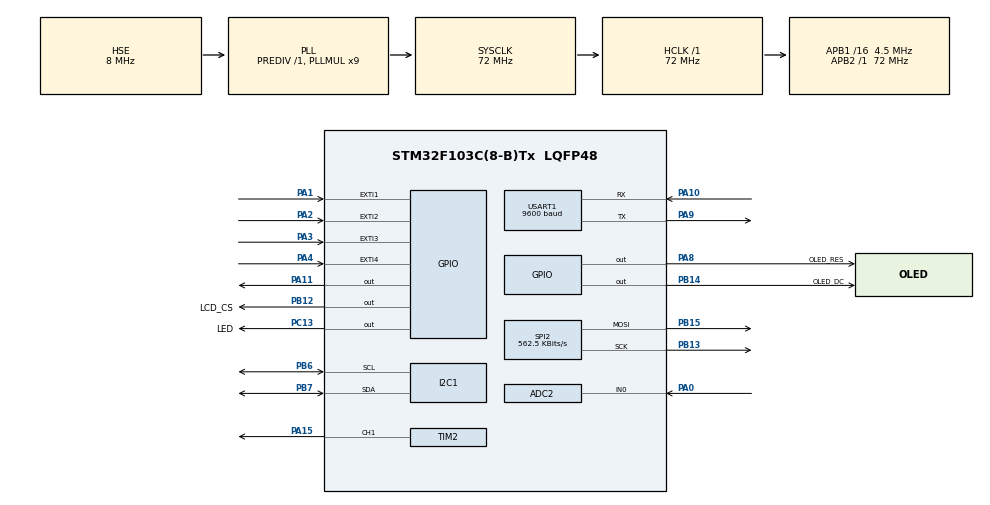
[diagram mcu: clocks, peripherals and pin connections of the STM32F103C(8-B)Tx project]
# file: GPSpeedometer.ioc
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ADC2.AWD1HighThreshold=4095
ADC2.AWD1ITMode=ENABLE
ADC2.AWD1LowThreshold=1300
ADC2.Channel-0\#ChannelRegularConversion=ADC_CHANNEL_0
ADC2.ContinuousConvMode=ENABLE
ADC2.EnableAnalogWatchDog=true
ADC2.NbrOfConversionFlag=1
ADC2.Rank-0\#ChannelRegularConversion=1
ADC2.SamplingTime-0\#ChannelRegularConversion=ADC_SAMPLETIME_1CYCLE_5
Dma.Request0=USART1_RX
Dma.USART1_RX.0.Direction=DMA_PERIPH_TO_MEMORY
Dma.USART1_RX.0.Instance=DMA1_Channel5
Dma.USART1_RX.0.MemDataAlignment=DMA_MDATAALIGN_BYTE
Dma.USART1_RX.0.MemInc=DMA_MINC_ENABLE
Dma.USART1_RX.0.Mode=DMA_CIRCULAR
Dma.USART1_RX.0.PeriphDataAlignment=DMA_PDATAALIGN_BYTE
Dma.USART1_RX.0.PeriphInc=DMA_PINC_DISABLE
Dma.USART1_RX.0.Priority=DMA_PRIORITY_LOW
FREERTOS.BinarySemaphores01=myBinarySemUART_ISR,Dynamic,NULL;myBinarySemDisplay_Data,Dynamic,NULL;myBinarySemButtons_ISR,Dynamic,NULL
FREERTOS.INCLUDE_vTaskDelayUntil=1
FREERTOS.Queues01=myButtons_state_Queue,8,uint8_t,0,Dynamic,NULL,NULL
FREERTOS.Tasks01=defaultTask,2,128,StartDefaultTask,Default,NULL,Dynamic,NULL,NULL;myLCD,-1,128,StartLCD,Default,NULL,Dynamic,NULL,NULL;myGPS_parser,0,128,StarGPS_parser,Default,NULL,Dynamic,NULL,NULL;myButtons,-3,128,StartButtons,Default,NULL,Dynamic,NULL,NULL;myEEPROM,-3,128,StartTask05,Default,NULL,Dynamic,NULL,NULL
FREERTOS.configTOTAL_HEAP_SIZE=5000
I2C1.I2C_Mode=I2C_Fast
Mcu.Family=STM32F1
Mcu.Name=STM32F103C(8-B)Tx
Mcu.Package=LQFP48
NVIC.ADC1_2_IRQn=true\:5\:0\:false\:false\:true\:true\:true
NVIC.DMA1_Channel5_IRQn=true\:5\:0\:false\:false\:true\:true\:false
NVIC.EXTI1_IRQn=true\:5\:0\:false\:false\:true\:true\:true
NVIC.EXTI2_IRQn=true\:5\:0\:false\:false\:true\:true\:true
NVIC.EXTI3_IRQn=true\:5\:0\:false\:false\:true\:true\:true
NVIC.EXTI4_IRQn=true\:5\:0\:false\:false\:true\:true\:true
NVIC.PriorityGroup=NVIC_PRIORITYGROUP_4
NVIC.TIM1_UP_IRQn=true\:0\:0\:false\:false\:true\:false\:true
NVIC.TimeBase=TIM1_UP_IRQn
NVIC.TimeBaseIP=TIM1
NVIC.USART1_IRQn=true\:5\:0\:false\:false\:true\:true\:true
PA0-WKUP.Signal=ADCx_IN0
PA1.GPIO_ModeDefaultEXTI=GPIO_MODE_IT_FALLING
PA1.GPIO_PuPd=GPIO_PULLUP
PA1.Signal=GPXTI1
PA10.Mode=Asynchronous
PA10.Signal=USART1_RX
PA11.PinState=GPIO_PIN_RESET
PA11.Signal=GPIO_Output
PA13.Mode=Serial_Wire
PA13.Signal=SYS_JTMS-SWDIO
PA14.Mode=Serial_Wire
PA14.Signal=SYS_JTCK-SWCLK
PA15.Signal=S_TIM2_CH1_ETR
PA2.GPIO_ModeDefaultEXTI=GPIO_MODE_IT_FALLING
PA2.GPIO_PuPd=GPIO_PULLUP
PA2.Signal=GPXTI2
PA3.GPIO_ModeDefaultEXTI=GPIO_MODE_IT_FALLING
PA3.GPIO_PuPd=GPIO_PULLUP
PA3.Signal=GPXTI3
PA4.GPIO_ModeDefaultEXTI=GPIO_MODE_IT_FALLING
PA4.GPIO_PuPd=GPIO_PULLUP
PA4.Signal=GPXTI4
PA8.GPIO_Label=OLED_RES
PA8.Signal=GPIO_Output
PA9.Mode=Asynchronous
PA9.Signal=USART1_TX
PB12.GPIO_Label=LCD_CS
PB12.Signal=GPIO_Output
PB13.Mode=TX_Only_Simplex_Unidirect_Master
PB13.Signal=SPI2_SCK
PB14.GPIO_Label=OLED_DC
PB14.Signal=GPIO_Output
PB15.Mode=TX_Only_Simplex_Unidirect_Master
PB15.Signal=SPI2_MOSI
PB6.Mode=I2C
PB6.Signal=I2C1_SCL
PB7.Mode=I2C
PB7.Signal=I2C1_SDA
PC13-TAMPER-RTC.GPIO_Label=LED
PC13-TAMPER-RTC.Signal=GPIO_Output
PD0-OSC_IN.Mode=HSE-External-Oscillator
PD0-OSC_IN.Signal=RCC_OSC_IN
PD1-OSC_OUT.Mode=HSE-External-Oscillator
PD1-OSC_OUT.Signal=RCC_OSC_OUT
ProjectManager.HeapSize=0x200
ProjectManager.StackSize=0x400
ProjectManager.TargetToolchain=MDK-ARM V5
RCC.ADCPresc=RCC_ADCPCLK2_DIV6
RCC.AHBFreq_Value=72000000
RCC.APB1CLKDivider=RCC_HCLK_DIV16
RCC.APB1Freq_Value=4500000
RCC.APB1TimFreq_Value=9000000
RCC.APB2Freq_Value=72000000
RCC.APB2TimFreq_Value=72000000
RCC.HCLKFreq_Value=72000000
RCC.PLLMUL=RCC_PLL_MUL9
RCC.PLLSourceVirtual=RCC_PLLSOURCE_HSE
RCC.SYSCLKFreq_VALUE=72000000
RCC.SYSCLKSource=RCC_SYSCLKSOURCE_PLLCLK
RCC.USBFreq_Value=72000000
SH.ADCx_IN0.0=ADC2_IN0,IN0
SH.S_TIM2_CH1_ETR.0=TIM2_CH1,PWM Generation1 CH1
SPI2.BaudRatePrescaler=SPI_BAUDRATEPRESCALER_8
SPI2.CalculateBaudRate=562.5 KBits/s
SPI2.Direction=SPI_DIRECTION_2LINES
SPI2.Mode=SPI_MODE_MASTER
SPI2.VirtualType=VM_MASTER
TIM2.AutoReloadPreload=TIM_AUTORELOAD_PRELOAD_DISABLE
TIM2.Channel-PWM\ Generation1\ CH1=TIM_CHANNEL_1
TIM2.OCMode_PWM-PWM\ Generation1\ CH1=TIM_OCMODE_PWM1
TIM2.Period=65535
TIM2.Pulse-PWM\ Generation1\ CH1=32000
USART1.BaudRate=9600
USART1.VirtualMode=VM_ASYNC
VP_CRC_VS_CRC.Mode=CRC_Activate
VP_FREERTOS_VS_ENABLE.Mode=Enabled
VP_SYS_VS_tim1.Mode=TIM1
VP_TIM2_VS_ClockSourceINT.Mode=Internal
board=GPSpeedometer

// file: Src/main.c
/* USER CODE BEGIN Header */
/**
  ******************************************************************************
  * @file           : main.c
  * @brief          : Main program body
  ******************************************************************************
  * This notice applies to any and all portions of this file
  * that are not between comment pairs USER CODE BEGIN and
  * USER CODE END. Other portions of this file, whether
  * inserted by the user or by software development tools
  * are owned by their respective copyright owners.
  *
  * Copyright (c) 2019 STMicroelectronics International N.V.
  * All rights reserved.
  *
  * Redistribution and use in source and binary forms, with or without
  * modification, are permitted, provided that the following conditions are met:
  *
  * 1. Redistribution of source code must retain the above copyright notice,
  *    this list of conditions and the following disclaimer.
  * 2. Redistributions in binary form must reproduce the above copyright notice,
  *    this list of conditions and the following disclaimer in the documentation
  *    and/or other materials provided with the distribution.
  * 3. Neither the name of STMicroelectronics nor the names of other
  *    contributors to this software may be used to endorse or promote products
  *    derived from this software without specific written permission.
  * 4. This software, including modifications and/or derivative works of this
  *    software, must execute solely and exclusively on microcontroller or
  *    microprocessor devices manufactured by or for STMicroelectronics.
  * 5. Redistribution and use of this software other than as permitted under
  *    this license is void and will automatically terminate your rights under
  *    this license.
  *
  * THIS SOFTWARE IS PROVIDED BY STMICROELECTRONICS AND CONTRIBUTORS "AS IS"
  * AND ANY EXPRESS, IMPLIED OR STATUTORY WARRANTIES, INCLUDING, BUT NOT
  * LIMITED TO, THE IMPLIED WARRANTIES OF MERCHANTABILITY, FITNESS FOR A
  * PARTICULAR PURPOSE AND NON-INFRINGEMENT OF THIRD PARTY INTELLECTUAL PROPERTY
  * RIGHTS ARE DISCLAIMED TO THE FULLEST EXTENT PERMITTED BY LAW. IN NO EVENT
  * SHALL STMICROELECTRONICS OR CONTRIBUTORS BE LIABLE FOR ANY DIRECT, INDIRECT,
  * INCIDENTAL, SPECIAL, EXEMPLARY, OR CONSEQUENTIAL DAMAGES (INCLUDING, BUT NOT
  * LIMITED TO, PROCUREMENT OF SUBSTITUTE GOODS OR SERVICES; LOSS OF USE, DATA,
  * OR PROFITS; OR BUSINESS INTERRUPTION) HOWEVER CAUSED AND ON ANY THEORY OF
  * LIABILITY, WHETHER IN CONTRACT, STRICT LIABILITY, OR TORT (INCLUDING
  * NEGLIGENCE OR OTHERWISE) ARISING IN ANY WAY OUT OF THE USE OF THIS SOFTWARE,
  * EVEN IF ADVISED OF THE POSSIBILITY OF SUCH DAMAGE.
  *
  ******************************************************************************
  */
/* USER CODE END Header */

#include "main.h"
#include "cmsis_os.h"
#include "adc.h"
#include "crc.h"
#include "dma.h"
#include "i2c.h"
#include "spi.h"
#include "tim.h"
#include "usart.h"
#include "gpio.h"

/* USER CODE BEGIN Includes */
#include "u8g2.h"
#include "u8g2_arm.h"
#include <stdio.h>
#include "gui.h"
/* USER CODE END Includes */

/* USER CODE BEGIN PV */
/* Private variables ---------------------------------------------------------*/

/* USER CODE END PV */

void SystemClock_Config(void);
void MX_FREERTOS_Init(void);
/* USER CODE BEGIN PFP */
/* Private function prototypes -----------------------------------------------*/

/* USER CODE END PFP */

int main(void)
{

  /* MCU Configuration--------------------------------------------------------*/

  /* Reset of all peripherals, Initializes the Flash interface and the Systick. */
  HAL_Init();

  /* Configure the system clock */
  SystemClock_Config();

  /* Initialize all configured peripherals */
  MX_GPIO_Init();
  MX_DMA_Init();
  MX_SPI2_Init();
  MX_USART1_UART_Init();
  MX_I2C1_Init();
  MX_TIM2_Init();
  MX_ADC2_Init();
  MX_CRC_Init();
  /* USER CODE BEGIN 2 */
	//Uncomment ST7920 or SSD1309 in main.h to choose screen controller type

	#ifdef ST7920
	u8g2_Setup_st7920_s_128x64_f(&u8g2, U8G2_R0,u8x8_byte_stm32_hw_spi,u8x8_stm32_gpio_and_delay);
	#endif

	#ifdef SSD1309
	u8g2_Setup_ssd1309_128x64_noname0_f(&u8g2, U8G2_R0,u8x8_byte_stm32_hw_spi,u8x8_stm32_gpio_and_delay);
	#endif
	/*u8g2_InitDisplay(&u8g2);
	u8g2_SetPowerSave(&u8g2, 0);*/
	HAL_TIM_PWM_Start(&htim2, TIM_CHANNEL_1);
	TIM2->CCR1=65535;
	//HAL_ADC_Start(&hadc2);
	//HAL_TIM_SetCompare(&htim2, TIM_CHANNEL_1, 5000);
/*
	wake up display. Need to add display clear to this function:
	U8X8_C(0x001),
  U8X8_DLY(4),
to uint8_t u8x8_d_st7920_powersave1_seq[] at u8x8_d_st7920.c */
  /* USER CODE END 2 */

  /* Call init function for freertos objects (in freertos.c) */
  MX_FREERTOS_Init();

  /* Start scheduler */
  osKernelStart();

  /* We should never get here as control is now taken by the scheduler */

  /* Infinite loop */
  while (1)
  {

  }
}

void SystemClock_Config(void)
{
  RCC_OscInitTypeDef RCC_OscInitStruct = {0};
  RCC_ClkInitTypeDef RCC_ClkInitStruct = {0};
  RCC_PeriphCLKInitTypeDef PeriphClkInit = {0};

  /**Initializes the CPU, AHB and APB busses clocks
  */
  RCC_OscInitStruct.OscillatorType = RCC_OSCILLATORTYPE_HSE;
  RCC_OscInitStruct.HSEState = RCC_HSE_ON;
  RCC_OscInitStruct.HSEPredivValue = RCC_HSE_PREDIV_DIV1;
  RCC_OscInitStruct.HSIState = RCC_HSI_ON;
  RCC_OscInitStruct.PLL.PLLState = RCC_PLL_ON;
  RCC_OscInitStruct.PLL.PLLSource = RCC_PLLSOURCE_HSE;
  RCC_OscInitStruct.PLL.PLLMUL = RCC_PLL_MUL9;
  if (HAL_RCC_OscConfig(&RCC_OscInitStruct) != HAL_OK)
  {
    Error_Handler();
  }
  /**Initializes the CPU, AHB and APB busses clocks
  */
  RCC_ClkInitStruct.ClockType = RCC_CLOCKTYPE_HCLK|RCC_CLOCKTYPE_SYSCLK
                              |RCC_CLOCKTYPE_PCLK1|RCC_CLOCKTYPE_PCLK2;
  RCC_ClkInitStruct.SYSCLKSource = RCC_SYSCLKSOURCE_PLLCLK;
  RCC_ClkInitStruct.AHBCLKDivider = RCC_SYSCLK_DIV1;
  RCC_ClkInitStruct.APB1CLKDivider = RCC_HCLK_DIV16;
  RCC_ClkInitStruct.APB2CLKDivider = RCC_HCLK_DIV1;

  if (HAL_RCC_ClockConfig(&RCC_ClkInitStruct, FLASH_LATENCY_2) != HAL_OK)
  {
    Error_Handler();
  }
  PeriphClkInit.PeriphClockSelection = RCC_PERIPHCLK_ADC;
  PeriphClkInit.AdcClockSelection = RCC_ADCPCLK2_DIV6;
  if (HAL_RCCEx_PeriphCLKConfig(&PeriphClkInit) != HAL_OK)
  {
    Error_Handler();
  }
}

void HAL_TIM_PeriodElapsedCallback(TIM_HandleTypeDef *htim)
{
  if (htim->Instance == TIM1) {
    HAL_IncTick();
  }
}

void Error_Handler(void)
{
  while(1)
  {
  }
}

/************************ (C) COPYRIGHT STMicroelectronics *****END OF FILE****/

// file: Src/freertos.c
/* USER CODE BEGIN Header */
/**
  ******************************************************************************
  * File Name          : freertos.c
  * Description        : Code for freertos applications
  ******************************************************************************
  * This notice applies to any and all portions of this file
  * that are not between comment pairs USER CODE BEGIN and
  * USER CODE END. Other portions of this file, whether
  * inserted by the user or by software development tools
  * are owned by their respective copyright owners.
  *
  * Copyright (c) 2019 STMicroelectronics International N.V.
  * All rights reserved.
  *
  * Redistribution and use in source and binary forms, with or without
  * modification, are permitted, provided that the following conditions are met:
  *
  * 1. Redistribution of source code must retain the above copyright notice,
  *    this list of conditions and the following disclaimer.
  * 2. Redistributions in binary form must reproduce the above copyright notice,
  *    this list of conditions and the following disclaimer in the documentation
  *    and/or other materials provided with the distribution.
  * 3. Neither the name of STMicroelectronics nor the names of other
  *    contributors to this software may be used to endorse or promote products
  *    derived from this software without specific written permission.
  * 4. This software, including modifications and/or derivative works of this
  *    software, must execute solely and exclusively on microcontroller or
  *    microprocessor devices manufactured by or for STMicroelectronics.
  * 5. Redistribution and use of this software other than as permitted under
  *    this license is void and will automatically terminate your rights under
  *    this license.
  *
  * THIS SOFTWARE IS PROVIDED BY STMICROELECTRONICS AND CONTRIBUTORS "AS IS"
  * AND ANY EXPRESS, IMPLIED OR STATUTORY WARRANTIES, INCLUDING, BUT NOT
  * LIMITED TO, THE IMPLIED WARRANTIES OF MERCHANTABILITY, FITNESS FOR A
  * PARTICULAR PURPOSE AND NON-INFRINGEMENT OF THIRD PARTY INTELLECTUAL PROPERTY
  * RIGHTS ARE DISCLAIMED TO THE FULLEST EXTENT PERMITTED BY LAW. IN NO EVENT
  * SHALL STMICROELECTRONICS OR CONTRIBUTORS BE LIABLE FOR ANY DIRECT, INDIRECT,
  * INCIDENTAL, SPECIAL, EXEMPLARY, OR CONSEQUENTIAL DAMAGES (INCLUDING, BUT NOT
  * LIMITED TO, PROCUREMENT OF SUBSTITUTE GOODS OR SERVICES; LOSS OF USE, DATA,
  * OR PROFITS; OR BUSINESS INTERRUPTION) HOWEVER CAUSED AND ON ANY THEORY OF
  * LIABILITY, WHETHER IN CONTRACT, STRICT LIABILITY, OR TORT (INCLUDING
  * NEGLIGENCE OR OTHERWISE) ARISING IN ANY WAY OUT OF THE USE OF THIS SOFTWARE,
  * EVEN IF ADVISED OF THE POSSIBILITY OF SUCH DAMAGE.
  *
  ******************************************************************************
  */
/* USER CODE END Header */

#include "FreeRTOS.h"
#include "task.h"
#include "main.h"
#include "cmsis_os.h"

/* USER CODE BEGIN Includes */
#include "u8g2.h"
#include "u8g2_arm.h"
#include <stdio.h>
#include "gui.h"
#include "usart.h"
#include "i2c.h"
#include "adc.h"
#include "string.h"
#include "GPS_Parser.h"
#include "Location.h"
#include "Simple_distance.h"
#include "eeprom.h"
#include "math.h"
#include "buttons.h"

/* USER CODE END Includes */

/* USER CODE BEGIN PD */
#define    DWT_CYCCNT    *(volatile unsigned long *)0xE0001004
#define    DWT_CONTROL   *(volatile unsigned long *)0xE0001000
#define    SCB_DEMCR     *(volatile unsigned long *)0xE000EDFC
/* USER CODE END PD */

/* USER CODE BEGIN Variables */
u8g2_t u8g2;
#define StartParcing() HAL_UART_Receive_IT(&huart1,(uint8_t *)&UART_byte,1)
uint32_t count_tic = 0;
char UART_byte=0;
uint8_t GPS_buffer_rx[BUFFSIZE];
char GPS_buffer[BUFFSIZE];
char Screen_buffer[15];
uint8_t GPS_buff_pos = 0;
GPS_data GPS;
Race_data Race;
eeprom_struct eeprom;
Display Disp;
__IO ITStatus UartReady = RESET;
Position Previous_Position,Current_position;
uint8_t buttons_state, buttons_long_press_state;
int i=65535;
uint32_t adc=0;
int a = 0;
uint8_t *b;
uint8_t eeprom_flag = 0;
uint8_t current_sentence;
float km;
enum mode {normal, power_off, debug};
enum mode work_mode = normal;
//enum mode work_mode = debug;

//const char change_baudrate[28] ={0xb5,0x62,0x06,0x00,0x14,0x00,0x01,0x00,0x00,0x00,0xd0,0x08,0x00,0x00,0x00,0xc2,0x01,0x00,0x07,0x00,0x03,0x00,0x00,0x00,0x00,0x00,0xc0,0x7e};
const char change_baudrate_uart_only[28] ={0xb5,0x62,0x06,0x00,0x14,0x00,0x01,0x00,0x00,0x00,0xd0,0x08,0x00,0x00,0x00,0xc2,0x01,0x00,0x07,0x00,0x02,0x00,0x00,0x00,0x00,0x00,0xbf,0x78};
//const char _57600_baudrate_uart_only[28] ={0xB5,0x62,0x06,0x00,0x14,0x00,0x01,0x00,0x00,0x00,0xD0,0x08,0x00,0x00,0x00,0xE1,0x00,0x00,0x07,0x00,0x02,0x00,0x00,0x00,0x00,0x00,0xDD,0xC3};
//const char uart_only[26] ={0xb5,0x62,0x06,0x00,0x14,0x00,0x01,0x00,0x00,0x00,0xd0,0x08,0x00,0x00,0x80,0x25,0x00,0x00,0x07,0x00,0x02,0x00,0x00,0x00,0x00,0x00};
//const char rate_10hz[14] = {0xb5,0x62,0x06,0x08,0x06,0x00,0x64,0x00,0x01,0x00,0x01,0x00,0x7a,0x12};
const char rate_5hz[14] = {0xb5,0x62,0x06,0x08,0x06,0x00,0xc8,0x00,0x01,0x00,0x01,0x00,0xde,0x6a};
//const char rate_2hz[13] = {0xb5,0x62,0x06,0x08,0x06,0x00,0xf4,0x01,0x01,0x00,0x01,0x00,0x0b};
//const char gl_gps_only[28] = {0xb5,0x62,0x06,0x3e,0x14,0x00,0x00,0x00,0x20,0x02,0x00,0x08,0x10,0x00,0x01,0x00,0x01,0x01,0x06,0x08,0x0e,0x00,0x01,0x00,0x01,0x01,0xb4,0x76};
//const char turn_off_gga[11] = {0xb5,0x62,0x06,0x01,0x03,0x00,0xf0,0x00,0x00,0xfa,0x0f};
const char turn_off_gns[11] = {0xb5,0x62,0x06,0x01,0x03,0x00,0xf0,0x01,0x00,0xfb,0x11};
const char turn_off_gsa[11] = {0xb5,0x62,0x06,0x01,0x03,0x00,0xf0,0x02,0x00,0xfc,0x13};
const char turn_off_gsv[11] = {0xb5,0x62,0x06,0x01,0x03,0x00,0xf0,0x03,0x00,0xfd,0x15};
//const char turn_on_zda[11] = {0xB5,0x62,0x06,0x01,0x03,0x00,0xF0,0x08,0x01,0x03,0x20};

/*????????? GGA: 0xb5,0x62,0x06,0x01,0x03,0x00,0xf0,0x00,0x00,0xfa,0x0f
????????? GNS: 0xb5,0x62,0x06,0x01,0x03,0x00,0xf0,0x01,0x00,0xfb,0x11
????????? GSA: 0xb5,0x62,0x06,0x01,0x03,0x00,0xf0,0x02,0x00,0xfc,0x13
????????? GSV: 0xb5,0x62,0x06,0x01,0x03,0x00,0xf0,0x03,0x00,0xfd,0x15 */
/* USER CODE END Variables */
osThreadId defaultTaskHandle;
osThreadId myLCDHandle;
osThreadId myGPS_parserHandle;
osThreadId myButtonsHandle;
osThreadId myEEPROMHandle;
osMessageQId myButtons_state_QueueHandle;
osSemaphoreId myBinarySemUART_ISRHandle;
osSemaphoreId myBinarySemDisplay_DataHandle;
osSemaphoreId myBinarySemButtons_ISRHandle;

/* USER CODE BEGIN FunctionPrototypes */

void HAL_UART_RxIdleCallback(UART_HandleTypeDef *UartHandle)
{
	BaseType_t xYieldRequired;
	current_sentence=DMA1_Channel5->CNDTR;
	HAL_UART_DMAStop(&huart1);
	HAL_GPIO_TogglePin(GPIOC,GPIO_PIN_13);
	xYieldRequired = xTaskResumeFromISR(myGPS_parserHandle);
  if( xYieldRequired == pdTRUE )
     {
         taskYIELD();
     }
};

 void HAL_GPIO_EXTI_Callback(uint16_t GPIO_Pin)
{
		BaseType_t xYieldRequired;
		xYieldRequired = xTaskResumeFromISR(myButtonsHandle);
     if( xYieldRequired == pdTRUE )
     {
         taskYIELD();
     }
}

void HAL_ADC_LevelOutOfWindowCallback(ADC_HandleTypeDef* hadc2)
{
	switch (work_mode){
		case power_off:
				//eeprom_write(&eeprom,&eeprom_flag);
				eeprom_race_write(&eeprom);
				work_mode = normal;
			  ADC2 ->HTR = 1300;
				ADC2 ->LTR = 0;
			break;
		case normal:
				work_mode = power_off;
				ADC2 ->HTR = 4095;
				ADC2 ->LTR = 1300;
			break;
		case debug:
			__HAL_ADC_DISABLE_IT(hadc2, ADC_IT_AWD);
			break;
	}
}

/*void HAL_ADC_ConvCpltCallback(ADC_HandleTypeDef* hadc1)

{
		adc = (uint32_t) HAL_ADC_GetValue(&hadc2);
}*/
/* USER CODE END FunctionPrototypes */

void StartDefaultTask(void const * argument);
void StartLCD(void const * argument);
void StarGPS_parser(void const * argument);
void StartButtons(void const * argument);
void StartTask05(void const * argument);

void MX_FREERTOS_Init(void); /* (MISRA C 2004 rule 8.1) */

void MX_FREERTOS_Init(void) {

  /* Create the semaphores(s) */
  /* definition and creation of myBinarySemUART_ISR */
  osSemaphoreDef(myBinarySemUART_ISR);
  myBinarySemUART_ISRHandle = osSemaphoreCreate(osSemaphore(myBinarySemUART_ISR), 1);

  /* definition and creation of myBinarySemDisplay_Data */
  osSemaphoreDef(myBinarySemDisplay_Data);
  myBinarySemDisplay_DataHandle = osSemaphoreCreate(osSemaphore(myBinarySemDisplay_Data), 1);

  /* definition and creation of myBinarySemButtons_ISR */
  osSemaphoreDef(myBinarySemButtons_ISR);
  myBinarySemButtons_ISRHandle = osSemaphoreCreate(osSemaphore(myBinarySemButtons_ISR), 1);

  /* Create the thread(s) */
  /* definition and creation of defaultTask */
  osThreadDef(defaultTask, StartDefaultTask, osPriorityHigh, 0, 128);
  defaultTaskHandle = osThreadCreate(osThread(defaultTask), NULL);

  /* definition and creation of myLCD */
  osThreadDef(myLCD, StartLCD, osPriorityBelowNormal, 0, 128);
  myLCDHandle = osThreadCreate(osThread(myLCD), NULL);

  /* definition and creation of myGPS_parser */
  osThreadDef(myGPS_parser, StarGPS_parser, osPriorityNormal, 0, 128);
  myGPS_parserHandle = osThreadCreate(osThread(myGPS_parser), NULL);

  /* definition and creation of myButtons */
  osThreadDef(myButtons, StartButtons, osPriorityIdle, 0, 128);
  myButtonsHandle = osThreadCreate(osThread(myButtons), NULL);

  /* definition and creation of myEEPROM */
  osThreadDef(myEEPROM, StartTask05, osPriorityIdle, 0, 128);
  myEEPROMHandle = osThreadCreate(osThread(myEEPROM), NULL);

  /* USER CODE BEGIN RTOS_THREADS */
  /* add threads, ... */
	vTaskSuspend(myGPS_parserHandle);
	vTaskSuspend(myButtonsHandle);
	vTaskSuspend(myLCDHandle);
  /* USER CODE END RTOS_THREADS */

  /* Create the queue(s) */
  /* definition and creation of myButtons_state_Queue */
  osMessageQDef(myButtons_state_Queue, 8, uint8_t);
  myButtons_state_QueueHandle = osMessageCreate(osMessageQ(myButtons_state_Queue), NULL);

}

void StartDefaultTask(void const * argument)
{

  /* USER CODE BEGIN StartDefaultTask */
  /* Infinite loop */
	start_sreen();
	osDelay(500);

	//HAL_UART_Transmit(&huart1,(uint8_t*)&turn_off_gga,11,0xFFFF);
	HAL_UART_Transmit(&huart1,(uint8_t*)&turn_off_gns,11,0xFFFF);
	HAL_UART_Transmit(&huart1,(uint8_t*)&turn_off_gsa,11,0xFFFF);
	HAL_UART_Transmit(&huart1,(uint8_t*)&turn_off_gsv,11,0xFFFF);
	//HAL_UART_Transmit(&huart1,(uint8_t*)&turn_on_zda,11,0xFFFF);
	HAL_UART_Transmit(&huart1,(uint8_t*)&rate_5hz,14,0xFFFF);
	HAL_UART_Transmit(&huart1,(uint8_t*)&change_baudrate_uart_only,28,0xFFFF);
	__HAL_UART_DISABLE(&huart1);
	USART1->BRR = 640;
	__HAL_UART_ENABLE(&huart1);

	osDelay(250);
	eeprom_read(&eeprom,&Race,&Disp);
	if (CHECK_FLAG(Race.flags,BACKLIGHT_FLAG)) TIM2->CCR1=10000;
	HAL_ADC_Start(&hadc2);
	__HAL_UART_ENABLE_IT(&huart1, UART_IT_IDLE);
	HAL_UART_Receive_DMA(&huart1,GPS_buffer_rx,BUFFSIZE);
	vTaskResume(myLCDHandle);
	vTaskSuspend(defaultTaskHandle);
  for(;;)
  {

				osDelay(1);
  }

  /* USER CODE END StartDefaultTask */
}

void StartLCD(void const * argument)
{
  /* USER CODE BEGIN StartLCD */
	SCB_DEMCR |= CoreDebug_DEMCR_TRCENA_Msk;
	TickType_t xLastWakeTime;
	//Disp.menu_page = 1;
	xLastWakeTime = xTaskGetTickCount();
  /* Infinite loop */
  for(;;)
  {
		vTaskDelayUntil( &xLastWakeTime, ( 100 / portTICK_RATE_MS ) );
		xSemaphoreTake(myBinarySemDisplay_DataHandle,portMAX_DELAY);
		/*DWT_CYCCNT = 0;
		DWT_CONTROL|= DWT_CTRL_CYCCNTENA_Msk; */
		gui(&GPS, &Race, &Disp);
		xSemaphoreGive(myBinarySemDisplay_DataHandle);
  }
  /* USER CODE END StartLCD */
}

void StarGPS_parser(void const * argument)
{
  /* USER CODE BEGIN StarGPS_parser */
	float Dist;
	Previous_Position.Lat = 0;
	Current_position.Lat = 0;
	Previous_Position.Lon = 0;
	Current_position.Lon = 0;
  /* Infinite loop */
  for(;;)
  {
		DWT_CYCCNT = 0;
		DWT_CONTROL|= DWT_CTRL_CYCCNTENA_Msk;
		memcpy(GPS_buffer,GPS_buffer_rx,BUFFSIZE);
		HAL_UART_Receive_DMA(&huart1,GPS_buffer_rx,BUFFSIZE);
		count_tic = DWT_CYCCNT;
		GPS_buff_pos = 0;
		xSemaphoreTake(myBinarySemDisplay_DataHandle,portMAX_DELAY);
		Get_GPS_data(GPS_buffer,&GPS, &Current_position);

		if ((GPS.status != 'V')&&(GPS.Speed.kelometers>3))
		{
			if (Previous_Position.Lat != 0)
			{
				Dist = DistanceKm(&Previous_Position,&Current_position);
				//Dist = DistanceBetween(&Previous_Position,&Current_position);
				if (Dist < 0.2)
				{
						if (CHECK_FLAG(Race.flags,DIRECTION_FLAG))
						{
							Race.odo1 -= Dist;
							Race.odo2 -= Dist;
						}
						else
						{
							Race.odo1 += Dist;
							Race.odo2 += Dist;
						}
					if (Race.odo1 >= 10000||Race.odo1 < 0) Race.odo1 = 0;
					if (Race.odo2 >= 10000||Race.odo2 < 0) Race.odo2 = 0;
					Race.total_distance_buf += Dist;
					Race.total_distance_buf = modff(Race.total_distance_buf, (float*)&km);
					Race.total_distance += (int) km;
					eeprom_race_collect(&eeprom,&Race);
				}
			}
				//if (Race.odo1 > 99.99) Race.odo1 = 0;
			Previous_Position.Lat = Current_position.Lat;
			Previous_Position.Lon = Current_position.Lon;
		}
		//GPS_buff_pos = 0;
		xSemaphoreGive(myBinarySemDisplay_DataHandle);
		vTaskSuspend(myGPS_parserHandle);
    //osDelay(1);
  }

  /* USER CODE END StarGPS_parser */
}

void StartButtons(void const * argument)
{
  /* USER CODE BEGIN StartButtons */
	//int i=65535;
  /* Infinite loop */
  for(;;)
  {
		read_buttons(&buttons_state,&buttons_long_press_state);
		buttons_events(&buttons_state,&buttons_long_press_state,&Disp,&GPS,&Race,&eeprom);
		//xQueueSendToBack(myButtons_state_QueueHandle, &buttons_state, 0);
		osDelay(10);
		//eeprom_race_write(&eeprom_race,&eeprom_flag);
		vTaskSuspend(myButtonsHandle);
  }
  /* USER CODE END StartButtons */
}

void StartTask05(void const * argument)
{
  /* USER CODE BEGIN StartTask05 */

  /* Infinite loop */
  for(;;)
  {
    Race.voltage = (33*((float) HAL_ADC_GetValue(&hadc2)))/4096;
		/*Race.odo1 += 0.1;
		Race.odo2 += 0.23;*/
		osDelay(1000);
  }
  /* USER CODE END StartTask05 */
}

/************************ (C) COPYRIGHT STMicroelectronics *****END OF FILE****/
